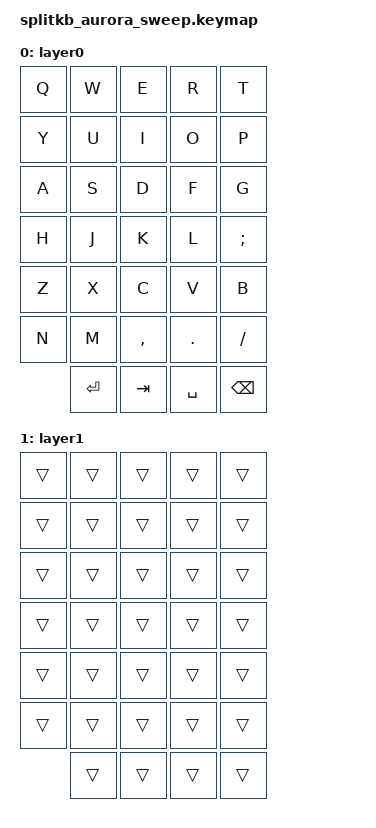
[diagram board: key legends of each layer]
/*
 * Copyright (c) 2020 The ZMK Contributors
 *
 * SPDX-License-Identifier: MIT
 */

#include <behaviors.dtsi>
#include <dt-bindings/zmk/keys.h>
#include <dt-bindings/zmk/bt.h>

/ {
    keymap {
        compatible = "zmk,keymap";

        layer0 {
            bindings = <
                &kp Q      &kp W      &kp E      &kp R      &kp T
                &kp Y      &kp U      &kp I      &kp O      &kp P
                &kp A      &kp S      &kp D      &kp F      &kp G
                &kp H      &kp J      &kp K      &kp L      &kp SEMI
                &kp Z      &kp X      &kp C      &kp V      &kp B
                &kp N      &kp M      &kp COMMA  &kp DOT    &kp FSLH
                           &kp ENTER  &kp TAB    &kp SPACE  &kp BSPC
            >;
        };

        layer1 {
            bindings = <
                &trans     &trans     &trans     &trans     &trans
                &trans     &trans     &trans     &trans     &trans
                &trans     &trans     &trans     &trans     &trans
                &trans     &trans     &trans     &trans     &trans
                &trans     &trans     &trans     &trans     &trans
                &trans     &trans     &trans     &trans     &trans
                           &trans     &trans     &trans     &trans
            >;
        };
    };
};
